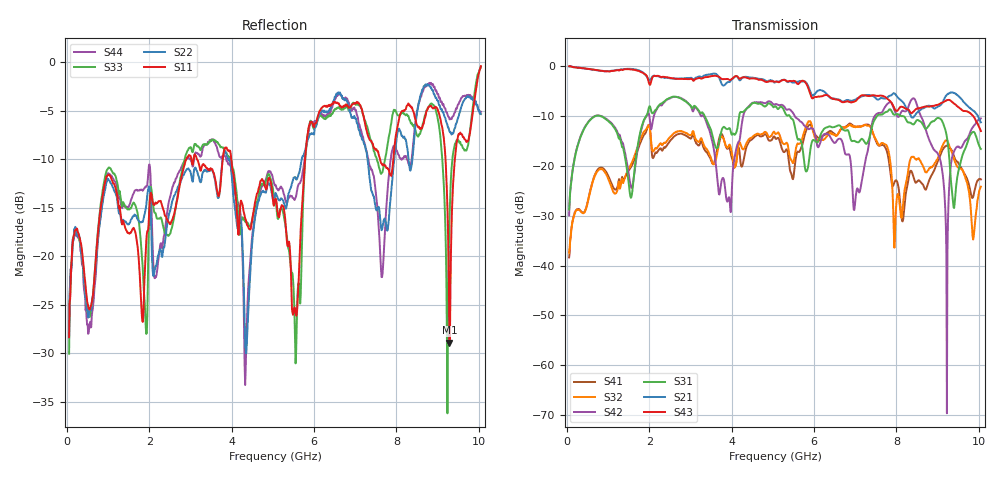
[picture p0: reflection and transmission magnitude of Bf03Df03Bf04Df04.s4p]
!  COPYRIGHT, TYCO ELECTRONICS  !
!  ALL INTERNATIONAL RIGHTS RESERVED  !
!! These models are covered by a licensing agreement that restricts  !
!! their use and distribution.  If you have questions about the  !
!! restrictions, contact the appropriate organization within  !
!! your company  !
! THESE MODELS REPRESENT TEC/AMP CONNECTORS ONLY. DUE TO INTERNAL  !
! DESIGN AND MATERIALS, THEY SHOULD NOT BE USED FOR PRODUCTS  !
! MANUFACTURED BY COMPANIES OTHER THAN AMP.  !
! CHECK WITH TEC/AMP FOR THE MOST CURRENT MODEL SET  !
! FOR MORE INFORMATION, EMAIL: modeling@tycoelectronics.com  !
!  URL:  http://www.amp.com/simulation/  !
! PRODUCT INFORMATION CENTER:  1-800-522-6752  !
! Each file is named 'Port1Port2Port3Port4.s4p', where port 1 and  !
! port 3 are input ports and port 2 and port 4 are output ports.  !
! For example, Ba05Da05Bb05Db05.s4p would have port 1 at backplane (B) a5 !
! port 2 at daughtercard (D) a5, port 3 at backplane (B) b5,  !
! and port 4 at daughtercard (D) b5.  !
! Keep in mind that each file is the throughput for  !
! footprint-connector-footprint.  Test board traces are calibrated out,  !
! but the s-parameters include a signal path that goes through the  !
! connector footprint in a given thickness board, the connector itself,  !
! and the connector footprint in a second board.  !
! A zero Hertz interpolation data point has been added for convenience.  !
! Connector: Z-DOK, 0.050" PITCH,  4 ROW, RIGHT ANGLE PLUG TO RIGHT ANGLE RECEPTACLE
! Pins  : F3F4
! Board  : 0.093" Thick FR4
! Filename : BF03DF03BF04DF04.s4p
! Rev Date : 9/15/02
! Status  : VALIDATED MEASURED MODEL
! Structure: 4 Port S-parameter
! Rating  : 50 MHz to 10.05 GHz
! Transform Limits : 50 ps Min. Time Resolution 1/(2*MaxFreq)
# HZ  S  MA R  50
! FREQ  S11  S12  S13  S14
!  S21  S22  S23  S24
!  S31  S32  S33  S34
!  S41  S42  S43  S44
!  MAG  ANG  MAG  ANG  MAG  ANG  MAG  ANG
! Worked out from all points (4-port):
!   801 points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, 50 MHz to 10.05 GHz, reference 50 ohm
!   strongest paths, dB at 50 MHz, 2.55 GHz, 5.05 GHz, 7.55 GHz, 10.05 GHz:
!     S43: 0.0, -2.5, -3.1, -6.0, -13.0
!     S21: -0.1, -2.5, -3.3, -6.7, -11.3
!     S31: -28.8, -6.2, -8.1, -9.8, -16.6
!     S42: -30.0, -6.3, -7.7, -9.5, -10.5
!     S32: -37.4, -13.8, -13.5, -15.6, -24.2
!     S41: -38.4, -14.6, -14.4, -15.8, -22.7
!   lowest |S11| = -28.9 dB at 9.287 GHz (marker M1), VSWR 1.07, Z = 48.5 + j3.19 ohm
!   |S11| at or under -10 dB: start of sweep to 2.896 GHz; 3.154 GHz to 3.78 GHz (625.8 MHz wide, 18 % of centre); 3.989 GHz to 5.78 GHz (1.791 GHz wide, 36.7 % of centre)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
5e7  0.03827 68.0  0.9926 -6.0  0.0362 81.9  0.01237 -107.5
     0.9893 -6.1  0.04408 65.2  0.01173 -104.3  0.03436 81.8
     0.03646 74.0  0.01347 -111.3  0.03149 67.6  0.9918 -5.9
     0.01206 -114.9  0.03177 85.6  0.995 -5.4  0.04481 69.2
1.5375e9  0.1323 -101.3  0.9352 -176.0  0.04862 -157.6  0.09483 86.1
          0.9381 -175.9  0.1511 -81.6  0.1002 94.6  0.06531 -20.9
          0.04942 -157.0  0.1002 94.4  0.1768 -109.5  0.926 -176.0
          0.09482 86.3  0.06525 -21.2  0.9273 -175.8  0.1897 -69.8
3.325e9  0.295 -95.2  0.7983 -5.5  0.3242 -78.2  0.1475 -168.2
         0.8014 -5.6  0.2756 -100.6  0.1606 -169.1  0.3099 -110.4
         0.326 -78.3  0.1595 -168.9  0.3768 -89.6  0.764 -4.0
         0.1479 -168.5  0.3109 -110.5  0.7679 -4.2  0.3714 -103.8
4.75e9  0.2467 -132.0  0.734 -168.7  0.405 -101.8  0.1978 58.0
        0.7356 -169.0  0.2167 -78.0  0.2093 60.7  0.4283 -67.9
        0.4057 -102.0  0.2084 61.0  0.2349 -120.9  0.7184 -167.7
        0.1988 57.7  0.4295 -68.1  0.7197 -167.9  0.2331 -87.2
6.225e9  0.5914 -63.9  0.5544 22.0  0.228 -154.3  0.1988 -99.8
         0.5617 21.7  0.5539 -77.7  0.1827 -104.6  0.2016 -166.5
         0.2298 -154.2  0.1807 -104.5  0.5153 -70.7  0.4999 28.8
         0.2005 -99.9  0.2036 -166.7  0.5048 28.5  0.528 -83.0
9.2875e9  0.03588 113.8  0.536 65.6  0.1117 -28.5  0.1523 -79.2
          0.534 65.2  0.4404 -131.0  0.156 -101.4  0.06983 150.6
          0.1125 -29.3  0.1556 -100.9  0.1559 -6.2  0.4558 56.6
          0.1524 -79.6  0.06919 150.9  0.4571 56.3  0.5074 -127.8
1.005e10  0.9528 -119.9  0.2748 -45.7  0.1492 16.4  0.07423 -134.3
          0.2729 -46.6  0.5402 -124.3  0.06209 -122.2  0.3005 64.7
          0.1474 15.3  0.06168 -120.8  0.9481 -117.5  0.2239 -43.1
          0.0731 -134.9  0.2979 63.9  0.2226 -44.0  0.5553 -124.8
